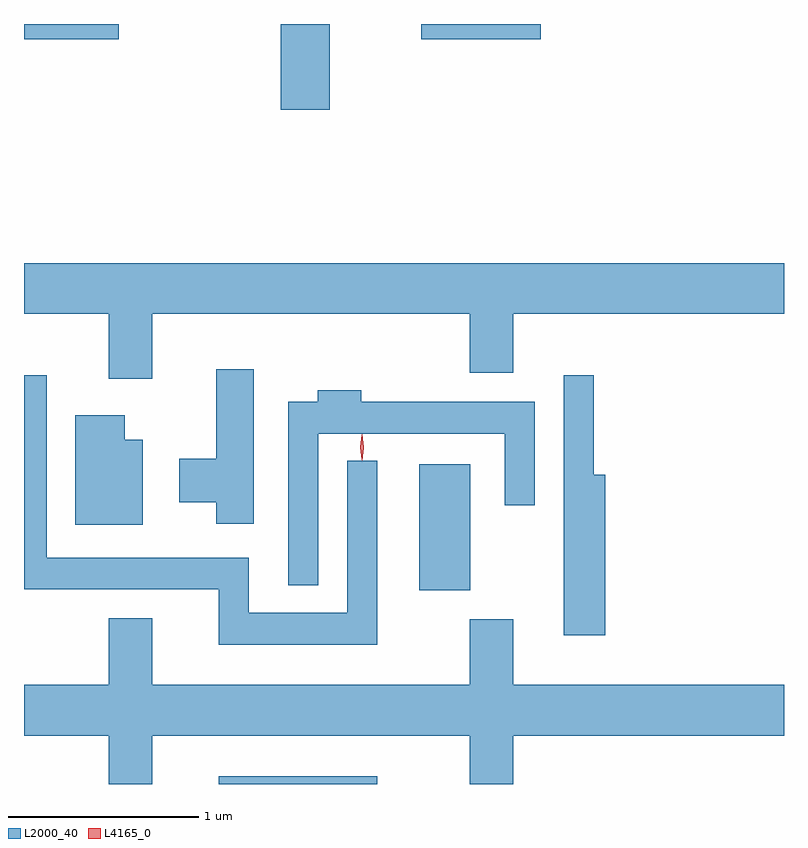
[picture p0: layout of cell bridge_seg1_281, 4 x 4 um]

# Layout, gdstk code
import gdstk
lib = gdstk.Library(unit=1e-6, precision=1e-09)
def R(c, l, rs):  # rectangles x0, y0, x1, y1
    for r in rs: c.add(gdstk.rectangle(r[:2], r[2:], *l))
def P(c, l, *ps):  # polygons
    for p in ps: c.add(gdstk.Polygon(p, *l))
L2000_40 = (2000, 40)
L4165_0 = (4165, 0)

bridge_seg1_281 = lib.new_cell('bridge_seg1_281')
R(bridge_seg1_281, L2000_40, [(868.731,901.542,869.564,901.584), (869.786,902.561,870.054,903.224), (869.056,905.091,869.314,905.542), (867.705,905.461,868.204,905.542), (869.796,905.461,870.424,905.542)])
P(bridge_seg1_281, L2000_40, [(868.379,904.016),(870.051,904.016),(870.051,903.706),(870.279,903.706),(870.279,904.016),(871.705,904.016),(871.705,904.284),(867.705,904.284),(867.705,904.016),(868.151,904.016),(868.151,903.676),(868.379,903.676)],
  [(868.914,903.724),(868.716,903.724),(868.716,903.254),(868.521,903.254),(868.521,903.026),(868.716,903.026),(868.716,902.911),(868.914,902.911)],
  [(869.564,903.243),(869.406,903.243),(869.406,902.444),(868.889,902.444),(868.889,902.734),(867.824,902.734),(867.824,903.693),(867.705,903.693),(867.705,902.566),(868.731,902.566),(868.731,902.276),(869.564,902.276)],
  [(870.764,903.169),(870.704,903.169),(870.704,903.693),(870.546,903.693),(870.546,902.326),(870.764,902.326)],
  [(869.254,903.386),(870.236,903.386),(870.236,903.008),(870.394,903.008),(870.394,903.554),(869.479,903.554),(869.479,903.614),(869.251,903.614),(869.251,903.554),(869.096,903.554),(869.096,902.588),(869.254,902.588)],
  [(868.329,903.354),(868.234,903.354),(868.234,903.484),(867.976,903.484),(867.976,902.906),(868.329,902.906)],
  [(868.379,901.796),(870.051,901.796),(870.051,901.542),(870.279,901.542),(870.279,901.796),(871.705,901.796),(871.705,902.064),(870.279,902.064),(870.279,902.409),(870.051,902.409),(870.051,902.064),(868.379,902.064),(868.379,902.414),(868.151,902.414),(868.151,902.064),(867.705,902.064),(867.705,901.796),(868.151,901.796),(868.151,901.542),(868.379,901.542)])
P(bridge_seg1_281, L4165_0, [(869.484,903.244),(869.484,903.244),(869.474,903.313),(869.484,903.383),(869.484,903.383),(869.485,903.383),(869.494,903.313),(869.485,903.244)],
  [(869.484,903.247),(869.483,903.248),(869.474,903.314),(869.483,903.38),(869.483,903.38),(869.484,903.38),(869.493,903.314),(869.484,903.248)])

lib.write_gds('bridge_seg1_281.gds')
